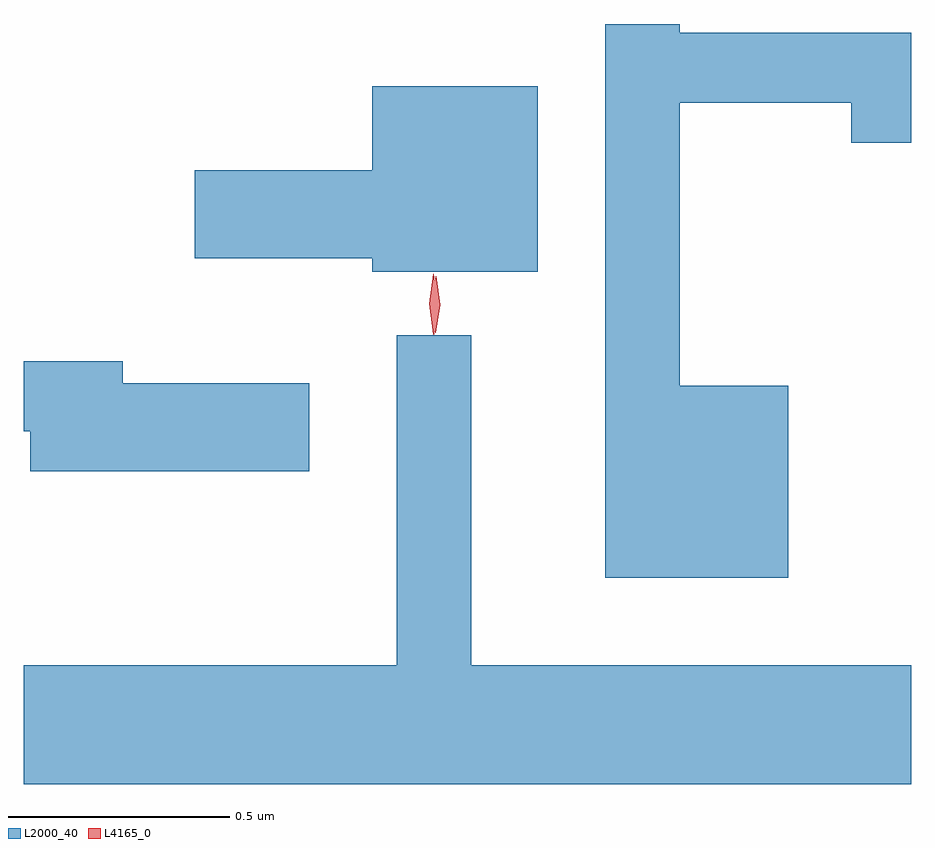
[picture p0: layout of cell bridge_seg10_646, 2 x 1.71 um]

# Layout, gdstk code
import gdstk
lib = gdstk.Library(unit=1e-6, precision=1e-09)
def P(c, l, *ps):  # polygons
    for p in ps: c.add(gdstk.Polygon(p, *l))
L2000_40 = (2000, 40)
L4165_0 = (4165, 0)

bridge_seg10_646 = lib.new_cell('bridge_seg10_646')
P(bridge_seg10_646, L2000_40, [(650.614,2132.574),(650.369,2132.574),(650.369,2133.211),(650.756,2133.211),(650.756,2133.121),(650.891,2133.121),(650.891,2133.369),(650.369,2133.369),(650.369,2133.389),(650.201,2133.389),(650.201,2132.141),(650.614,2132.141)],
  [(650.049,2133.249),(649.676,2133.249),(649.676,2133.059),(649.276,2133.059),(649.276,2132.861),(649.676,2132.861),(649.676,2132.831),(650.049,2132.831)],
  [(650.891,2131.944),(649.899,2131.944),(649.899,2132.688),(649.731,2132.688),(649.731,2131.944),(648.891,2131.944),(648.891,2131.676),(650.891,2131.676)],
  [(649.534,2132.579),(649.114,2132.579),(649.114,2132.629),(648.891,2132.629),(648.891,2132.471),(648.906,2132.471),(648.906,2132.381),(649.534,2132.381)])
P(bridge_seg10_646, L4165_0, [(649.818,2132.693),(649.818,2132.693),(649.809,2132.756),(649.82,2132.82),(649.821,2132.82),(649.821,2132.82),(649.83,2132.756),(649.819,2132.693)],
  [(649.815,2132.689),(649.814,2132.69),(649.805,2132.758),(649.814,2132.825),(649.814,2132.826),(649.815,2132.825),(649.824,2132.758),(649.816,2132.69)])

lib.write_gds('bridge_seg10_646.gds')
